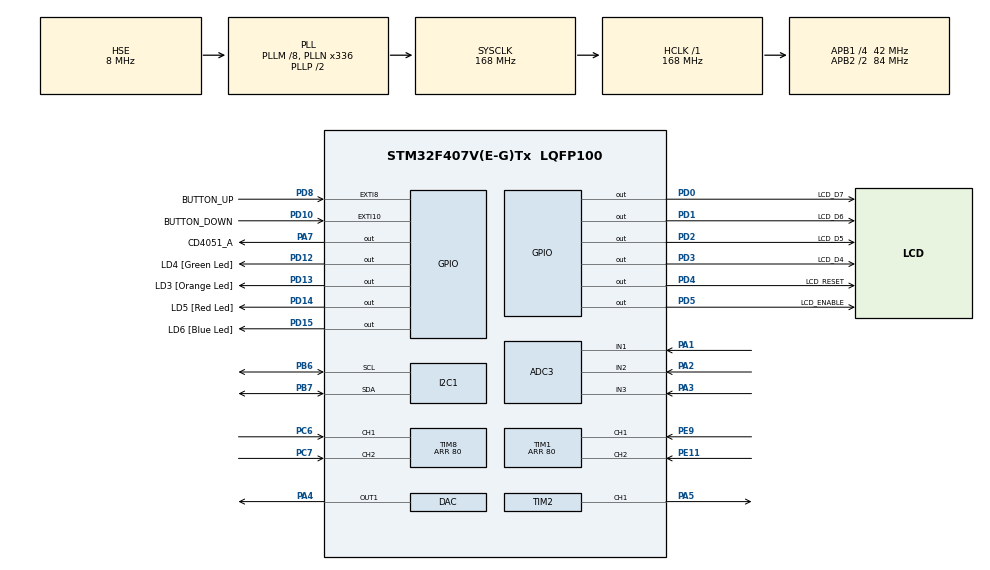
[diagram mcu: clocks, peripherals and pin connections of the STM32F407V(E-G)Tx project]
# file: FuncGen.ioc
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ADC3.Channel-0\#ChannelRegularConversion=ADC_CHANNEL_1
ADC3.Channel-1\#ChannelRegularConversion=ADC_CHANNEL_1
ADC3.Channel-2\#ChannelRegularConversion=ADC_CHANNEL_1
ADC3.ContinuousConvMode=ENABLE
ADC3.DMAContinuousRequests=ENABLE
ADC3.EOCSelection=ADC_EOC_SEQ_CONV
ADC3.NbrOfConversion=3
ADC3.NbrOfConversionFlag=1
ADC3.Rank-0\#ChannelRegularConversion=1
ADC3.Rank-1\#ChannelRegularConversion=2
ADC3.Rank-2\#ChannelRegularConversion=3
ADC3.SamplingTime-0\#ChannelRegularConversion=ADC_SAMPLETIME_3CYCLES
ADC3.SamplingTime-1\#ChannelRegularConversion=ADC_SAMPLETIME_3CYCLES
ADC3.SamplingTime-2\#ChannelRegularConversion=ADC_SAMPLETIME_3CYCLES
DAC.DAC_Trigger=DAC_TRIGGER_T6_TRGO
Dma.ADC3.1.Direction=DMA_PERIPH_TO_MEMORY
Dma.ADC3.1.FIFOMode=DMA_FIFOMODE_DISABLE
Dma.ADC3.1.Instance=DMA2_Stream0
Dma.ADC3.1.MemDataAlignment=DMA_MDATAALIGN_HALFWORD
Dma.ADC3.1.MemInc=DMA_MINC_ENABLE
Dma.ADC3.1.Mode=DMA_CIRCULAR
Dma.ADC3.1.PeriphDataAlignment=DMA_PDATAALIGN_HALFWORD
Dma.ADC3.1.PeriphInc=DMA_PINC_DISABLE
Dma.ADC3.1.Priority=DMA_PRIORITY_VERY_HIGH
Dma.DAC1.0.Direction=DMA_MEMORY_TO_PERIPH
Dma.DAC1.0.FIFOMode=DMA_FIFOMODE_ENABLE
Dma.DAC1.0.FIFOThreshold=DMA_FIFO_THRESHOLD_FULL
Dma.DAC1.0.Instance=DMA1_Stream5
Dma.DAC1.0.MemBurst=DMA_MBURST_SINGLE
Dma.DAC1.0.MemDataAlignment=DMA_MDATAALIGN_HALFWORD
Dma.DAC1.0.MemInc=DMA_MINC_ENABLE
Dma.DAC1.0.Mode=DMA_CIRCULAR
Dma.DAC1.0.PeriphBurst=DMA_PBURST_SINGLE
Dma.DAC1.0.PeriphDataAlignment=DMA_PDATAALIGN_HALFWORD
Dma.DAC1.0.PeriphInc=DMA_PINC_DISABLE
Dma.DAC1.0.Priority=DMA_PRIORITY_LOW
Dma.Request0=DAC1
Dma.Request1=ADC3
I2C1.I2C_Mode=I2C_Fast
I2C1.NoStretchMode=I2C_NOSTRETCH_ENABLE
I2C1.OwnAddress=0x14
Mcu.Family=STM32F4
Mcu.Name=STM32F407V(E-G)Tx
Mcu.Package=LQFP100
NVIC.DMA1_Stream5_IRQn=true\:0\:0\:false\:false\:true\:false\:true
NVIC.DMA2_Stream0_IRQn=true\:0\:0\:false\:false\:true\:false\:true
NVIC.EXTI15_10_IRQn=true\:0\:0\:false\:false\:true\:true\:true
NVIC.EXTI9_5_IRQn=true\:0\:0\:false\:false\:true\:true\:true
NVIC.I2C1_ER_IRQn=true\:0\:0\:false\:false\:true\:true\:true
NVIC.I2C1_EV_IRQn=true\:0\:0\:false\:false\:true\:true\:true
NVIC.PriorityGroup=NVIC_PRIORITYGROUP_0
NVIC.TIM3_IRQn=true\:0\:0\:false\:false\:true\:true\:true
PA1.Signal=ADCx_IN1
PA2.Signal=ADCx_IN2
PA3.Signal=ADCx_IN3
PA4.Signal=COMP_DAC1_group
PA5.Signal=S_TIM2_CH1_ETR
PA7.GPIO_Label=CD4051_A
PA7.Signal=GPIO_Output
PB6.Mode=I2C
PB6.Signal=I2C1_SCL
PB7.Mode=I2C
PB7.Signal=I2C1_SDA
PC6.Signal=S_TIM8_CH1
PC7.Signal=S_TIM8_CH2
PD0.GPIO_Label=LCD_D7
PD0.Signal=GPIO_Output
PD1.GPIO_Label=LCD_D6
PD1.Signal=GPIO_Output
PD10.GPIO_Label=BUTTON_DOWN
PD10.GPIO_PuPd=GPIO_PULLUP
PD10.Signal=GPXTI10
PD12.GPIO_Label=LD4 [Green Led]
PD12.GPIO_PuPd=GPIO_NOPULL
PD12.GPIO_Speed=GPIO_SPEED_FREQ_LOW
PD12.Signal=GPIO_Output
PD13.GPIO_Label=LD3 [Orange Led]
PD13.GPIO_PuPd=GPIO_NOPULL
PD13.GPIO_Speed=GPIO_SPEED_FREQ_LOW
PD13.Signal=GPIO_Output
PD14.GPIO_Label=LD5 [Red Led]
PD14.GPIO_PuPd=GPIO_NOPULL
PD14.GPIO_Speed=GPIO_SPEED_FREQ_LOW
PD14.Signal=GPIO_Output
PD15.GPIO_Label=LD6 [Blue Led]
PD15.GPIO_PuPd=GPIO_NOPULL
PD15.GPIO_Speed=GPIO_SPEED_FREQ_LOW
PD15.Signal=GPIO_Output
PD2.GPIO_Label=LCD_D5
PD2.Signal=GPIO_Output
PD3.GPIO_Label=LCD_D4
PD3.Signal=GPIO_Output
PD4.GPIO_Label=LCD_RESET
PD4.Signal=GPIO_Output
PD5.GPIO_Label=LCD_ENABLE
PD5.Signal=GPIO_Output
PD8.GPIO_Label=BUTTON_UP
PD8.GPIO_PuPd=GPIO_PULLUP
PD8.Signal=GPXTI8
PE11.Signal=S_TIM1_CH2
PE9.Signal=S_TIM1_CH1
PH0-OSC_IN.Mode=HSE-External-Oscillator
PH0-OSC_IN.Signal=RCC_OSC_IN
PH1-OSC_OUT.Mode=HSE-External-Oscillator
PH1-OSC_OUT.Signal=RCC_OSC_OUT
ProjectManager.HeapSize=0x200
ProjectManager.StackSize=0x400
ProjectManager.TargetToolchain=STM32CubeIDE
RCC.48MHZClocksFreq_Value=48000000
RCC.AHBFreq_Value=168000000
RCC.APB1CLKDivider=RCC_HCLK_DIV4
RCC.APB1Freq_Value=42000000
RCC.APB1TimFreq_Value=84000000
RCC.APB2CLKDivider=RCC_HCLK_DIV2
RCC.APB2Freq_Value=84000000
RCC.APB2TimFreq_Value=168000000
RCC.CortexFreq_Value=168000000
RCC.EnbaleCSS=true
RCC.HCLKFreq_Value=168000000
RCC.HSE_VALUE=8000000
RCC.HSI_VALUE=16000000
RCC.PLLM=8
RCC.PLLN=336
RCC.PLLQ=7
RCC.PLLSourceVirtual=RCC_PLLSOURCE_HSE
RCC.SYSCLKFreq_VALUE=168000000
RCC.SYSCLKSource=RCC_SYSCLKSOURCE_PLLCLK
RCC.VCOOutputFreq_Value=336000000
SH.ADCx_IN1.0=ADC3_IN1,IN1
SH.ADCx_IN2.0=ADC3_IN2,IN2
SH.ADCx_IN3.0=ADC3_IN3,IN3
SH.COMP_DAC1_group.0=DAC_OUT1,DAC_OUT1
SH.S_TIM1_CH1.0=TIM1_CH1,Encoder_Interface
SH.S_TIM1_CH2.0=TIM1_CH2,Encoder_Interface
SH.S_TIM2_CH1_ETR.0=TIM2_CH1,PWM Generation1 CH1
SH.S_TIM8_CH1.0=TIM8_CH1,Encoder_Interface
SH.S_TIM8_CH2.0=TIM8_CH2,Encoder_Interface
TIM1.EncoderMode=TIM_ENCODERMODE_TI12
TIM1.IC1Filter=0xF
TIM1.IC2Filter=0xF
TIM1.Period=80
TIM2.Channel-PWM\ Generation1\ CH1=TIM_CHANNEL_1
TIM2.Period=4200
TIM3.AutoReloadPreload=TIM_AUTORELOAD_PRELOAD_ENABLE
TIM3.Period=100
TIM3.Prescaler=83
TIM6.TIM_MasterOutputTrigger=TIM_TRGO_UPDATE
TIM8.EncoderMode=TIM_ENCODERMODE_TI12
TIM8.IC1Filter=0xF
TIM8.IC2Filter=0xF
TIM8.Period=80
VP_TIM2_VS_ClockSourceINT.Mode=Internal
VP_TIM3_VS_ClockSourceINT.Mode=Internal
VP_TIM6_VS_ClockSourceINT.Mode=Enable_Timer
board=STM32F407G-DISC1

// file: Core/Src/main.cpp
/* USER CODE BEGIN Header */
/**
  ******************************************************************************
  * @file           : main.c
  * @brief          : Main program body
  ******************************************************************************
  * @attention
  *
  * <h2><center>&copy; Copyright (c) 2021 STMicroelectronics.
  * All rights reserved.</center></h2>
  *
  * This software component is licensed by ST under BSD 3-Clause license,
  * the "License"; You may not use this file except in compliance with the
  * License. You may obtain a copy of the License at:
  *                        opensource.org/licenses/BSD-3-Clause
  *
  ******************************************************************************
  */
/* USER CODE END Header */
#include "main.h"

/* USER CODE BEGIN Includes */
#include "lcd.h"
#include "menu.h"
#include "common_waves.h"
#include "push_buttons.h"
#include "arb.h"
/* USER CODE END Includes */

/* USER CODE BEGIN PTD */
#define INITIAL_FREQUENCY	10000
#define INITIAL_AMPLITUDE	3900
#define INITIAL_OFFSET		0
#define INITIAL_DUTY_CYCLE	50
#define WELCOMESCREEN_TIME	20
#define ON 					1
#define OFF					0
#define IDLE				0
#define CHECK				1
#define PUSH				2
#define NPUSH				3
#define DEBOUNCINGTIME		100

/* USER CODE END PTD */

ADC_HandleTypeDef hadc3;
DMA_HandleTypeDef hdma_adc3;

DAC_HandleTypeDef hdac;
DMA_HandleTypeDef hdma_dac1;

I2C_HandleTypeDef hi2c1;

TIM_HandleTypeDef htim1;
TIM_HandleTypeDef htim2;
TIM_HandleTypeDef htim3;
TIM_HandleTypeDef htim6;
TIM_HandleTypeDef htim8;

/* USER CODE BEGIN PV */
GPIO_PinState pin_state;

volatile uint16_t button_callback;
int8_t flag_callback_menu = 0;
int counter = 0, pressed_button = 0;

int *lcd_cnt = 0, *ldc_init_flag = 0, *lcd_wr_flag = 0, *lcd_wr_instr4bits_flag = 0, *lcd_posic_flag = 0;
char *aux_aux = 0, *aux_address = 0;
unsigned char *aux_dato = 0;

struct wave_param param = { INITIAL_FREQUENCY, INITIAL_AMPLITUDE, INITIAL_OFFSET, INITIAL_DUTY_CYCLE };

/* USER CODE END PV */

void SystemClock_Config(void);
static void MX_GPIO_Init(void);
static void MX_DMA_Init(void);
static void MX_I2C1_Init(void);
static void MX_DAC_Init(void);
static void MX_TIM1_Init(void);
static void MX_TIM2_Init(void);
static void MX_TIM3_Init(void);
static void MX_TIM6_Init(void);
static void MX_TIM8_Init(void);
static void MX_ADC3_Init(void);
/* USER CODE BEGIN PFP */
void welcome(void);
void button_check(void);
/* USER CODE END PFP */

int main(void)
{

  /* MCU Configuration--------------------------------------------------------*/

  /* Reset of all peripherals, Initializes the Flash interface and the Systick. */
  HAL_Init();

  /* Configure the system clock */
  SystemClock_Config();

  /* USER CODE BEGIN SysInit */
    int welcome_flag = 1;
    uint16_t *dac_samples_buffer = NULL;
  /* USER CODE END SysInit */

  /* Initialize all configured peripherals */
  MX_GPIO_Init();
  MX_DMA_Init();
  MX_I2C1_Init();
  MX_DAC_Init();
  MX_TIM1_Init();
  MX_TIM2_Init();
  MX_TIM3_Init();
  MX_TIM6_Init();
  MX_TIM8_Init();
  MX_ADC3_Init();
  /* USER CODE BEGIN 2 */
    //HAL_ADC_Start(&hadc3);
    HAL_TIM_Base_Start(&htim6); //Base de tiempo para la salida DAC
    HAL_TIM_Base_Start_IT(&htim3); //Base de tiempo para interrupciones de 100us
    HAL_TIM_PWM_Start(&htim2, TIM_CHANNEL_1); //Base de tiempo para la salida PWM
    HAL_TIM_Encoder_Start(&htim1, TIM_CHANNEL_ALL); //Inicializa el timer en modo encoder
    HAL_TIM_Encoder_Start(&htim8, TIM_CHANNEL_ALL); //Inicializa el timer en modo encoder
    welcome(); //mensaje de presentacion
  /* USER CODE END 2 */

  /* Infinite loop */
  /* USER CODE BEGIN WHILE */
    while (1)
    {

        /* Limpio el display luego de mostrar el mensaje de bienvenida por única vez*/
        if(counter>=WELCOMESCREEN_TIME)
        {
            if(welcome_flag==1)
            {
                cls_lcd();
            	welcome_flag = 0;
            }
        }
        /* Compruebo si un botón fue presionado*/
        button_check();

        /*Ejecuto el menú*/
        if(welcome_flag == 0)
        {
            dac_samples_buffer = menu(dac_samples_buffer);
        }
    }
    /* USER CODE END WHILE */

}

void SystemClock_Config(void)
{
  RCC_OscInitTypeDef RCC_OscInitStruct = {0};
  RCC_ClkInitTypeDef RCC_ClkInitStruct = {0};

  /** Configure the main internal regulator output voltage
  */
  __HAL_RCC_PWR_CLK_ENABLE();
  __HAL_PWR_VOLTAGESCALING_CONFIG(PWR_REGULATOR_VOLTAGE_SCALE1);
  /** Initializes the RCC Oscillators according to the specified parameters
  * in the RCC_OscInitTypeDef structure.
  */
  RCC_OscInitStruct.OscillatorType = RCC_OSCILLATORTYPE_HSE;
  RCC_OscInitStruct.HSEState = RCC_HSE_ON;
  RCC_OscInitStruct.PLL.PLLState = RCC_PLL_ON;
  RCC_OscInitStruct.PLL.PLLSource = RCC_PLLSOURCE_HSE;
  RCC_OscInitStruct.PLL.PLLM = 8;
  RCC_OscInitStruct.PLL.PLLN = 336;
  RCC_OscInitStruct.PLL.PLLP = RCC_PLLP_DIV2;
  RCC_OscInitStruct.PLL.PLLQ = 7;
  if (HAL_RCC_OscConfig(&RCC_OscInitStruct) != HAL_OK)
  {
    Error_Handler();
  }
  /** Initializes the CPU, AHB and APB buses clocks
  */
  RCC_ClkInitStruct.ClockType = RCC_CLOCKTYPE_HCLK|RCC_CLOCKTYPE_SYSCLK|RCC_CLOCKTYPE_PCLK1|RCC_CLOCKTYPE_PCLK2;
  RCC_ClkInitStruct.SYSCLKSource = RCC_SYSCLKSOURCE_PLLCLK;
  RCC_ClkInitStruct.AHBCLKDivider = RCC_SYSCLK_DIV1;
  RCC_ClkInitStruct.APB1CLKDivider = RCC_HCLK_DIV4;
  RCC_ClkInitStruct.APB2CLKDivider = RCC_HCLK_DIV2;

  if (HAL_RCC_ClockConfig(&RCC_ClkInitStruct, FLASH_LATENCY_5) != HAL_OK)
  {
    Error_Handler();
  }
  /** Enables the Clock Security System
  */
  HAL_RCC_EnableCSS();
}

static void MX_ADC3_Init(void)
{
    ADC_ChannelConfTypeDef sConfig = {0};
    /** Configure the global features of the ADC (Clock, Resolution, Data Alignment and number of conversion)
    */
    hadc3.Instance = ADC3;
    hadc3.Init.ClockPrescaler = ADC_CLOCK_SYNC_PCLK_DIV4;
    hadc3.Init.Resolution = ADC_RESOLUTION_12B;
    hadc3.Init.ScanConvMode = ENABLE;
    hadc3.Init.ContinuousConvMode = ENABLE;
    hadc3.Init.DiscontinuousConvMode = DISABLE;
    hadc3.Init.ExternalTrigConvEdge = ADC_EXTERNALTRIGCONVEDGE_NONE;
    hadc3.Init.ExternalTrigConv = ADC_SOFTWARE_START;
    hadc3.Init.DataAlign = ADC_DATAALIGN_RIGHT;
    hadc3.Init.NbrOfConversion = 3;
    hadc3.Init.DMAContinuousRequests = ENABLE;
    hadc3.Init.EOCSelection = ADC_EOC_SEQ_CONV;
    if (HAL_ADC_Init(&hadc3) != HAL_OK)
    {
        Error_Handler();
    }
    /** Configure for the selected ADC regular channel its corresponding rank in the sequencer and its sample time.
    */
    sConfig.Channel = ADC_CHANNEL_1;
    sConfig.Rank = 1;
    sConfig.SamplingTime = ADC_SAMPLETIME_480CYCLES;
    if (HAL_ADC_ConfigChannel(&hadc3, &sConfig) != HAL_OK)
    {
        Error_Handler();
    }
    /** Configure for the selected ADC regular channel its corresponding rank in the sequencer and its sample time.
    */
    sConfig.Channel = ADC_CHANNEL_2;
    sConfig.Rank = 2;
    if (HAL_ADC_ConfigChannel(&hadc3, &sConfig) != HAL_OK)
    {
        Error_Handler();
    }
    /** Configure for the selected ADC regular channel its corresponding rank in the sequencer and its sample time.
    */
    sConfig.Channel = ADC_CHANNEL_3;
    sConfig.Rank = 3;
    if (HAL_ADC_ConfigChannel(&hadc3, &sConfig) != HAL_OK)
    {
        Error_Handler();
    }
}

static void MX_DAC_Init(void)
{

  DAC_ChannelConfTypeDef sConfig = {0};

  /** DAC Initialization
  */
  hdac.Instance = DAC;
  if (HAL_DAC_Init(&hdac) != HAL_OK)
  {
    Error_Handler();
  }
  /** DAC channel OUT1 config
  */
  sConfig.DAC_Trigger = DAC_TRIGGER_T6_TRGO;
  sConfig.DAC_OutputBuffer = DAC_OUTPUTBUFFER_ENABLE;
  if (HAL_DAC_ConfigChannel(&hdac, &sConfig, DAC_CHANNEL_1) != HAL_OK)
  {
    Error_Handler();
  }

}

static void MX_I2C1_Init(void)
{

  hi2c1.Instance = I2C1;
  hi2c1.Init.ClockSpeed = 400000;
  hi2c1.Init.DutyCycle = I2C_DUTYCYCLE_2;
  hi2c1.Init.OwnAddress1 = 40;
  hi2c1.Init.AddressingMode = I2C_ADDRESSINGMODE_7BIT;
  hi2c1.Init.DualAddressMode = I2C_DUALADDRESS_DISABLE;
  hi2c1.Init.OwnAddress2 = 0;
  hi2c1.Init.GeneralCallMode = I2C_GENERALCALL_DISABLE;
  hi2c1.Init.NoStretchMode = I2C_NOSTRETCH_ENABLE;
  if (HAL_I2C_Init(&hi2c1) != HAL_OK)
  {
    Error_Handler();
  }

}

static void MX_TIM1_Init(void)
{

  TIM_Encoder_InitTypeDef sConfig = {0};
  TIM_MasterConfigTypeDef sMasterConfig = {0};

  htim1.Instance = TIM1;
  htim1.Init.Prescaler = 0;
  htim1.Init.CounterMode = TIM_COUNTERMODE_DOWN;
  htim1.Init.Period = 80;
  htim1.Init.ClockDivision = TIM_CLOCKDIVISION_DIV1;
  htim1.Init.RepetitionCounter = 0;
  htim1.Init.AutoReloadPreload = TIM_AUTORELOAD_PRELOAD_DISABLE;
  sConfig.EncoderMode = TIM_ENCODERMODE_TI12;
  sConfig.IC1Polarity = TIM_ICPOLARITY_RISING;
  sConfig.IC1Selection = TIM_ICSELECTION_DIRECTTI;
  sConfig.IC1Prescaler = TIM_ICPSC_DIV1;
  sConfig.IC1Filter = 0xF;
  sConfig.IC2Polarity = TIM_ICPOLARITY_FALLING;
  sConfig.IC2Selection = TIM_ICSELECTION_DIRECTTI;
  sConfig.IC2Prescaler = TIM_ICPSC_DIV1;
  sConfig.IC2Filter = 0xF;
  if (HAL_TIM_Encoder_Init(&htim1, &sConfig) != HAL_OK)
  {
    Error_Handler();
  }
  sMasterConfig.MasterOutputTrigger = TIM_TRGO_RESET;
  sMasterConfig.MasterSlaveMode = TIM_MASTERSLAVEMODE_DISABLE;
  if (HAL_TIMEx_MasterConfigSynchronization(&htim1, &sMasterConfig) != HAL_OK)
  {
    Error_Handler();
  }

}

static void MX_TIM2_Init(void)
{

  TIM_ClockConfigTypeDef sClockSourceConfig = {0};
  TIM_MasterConfigTypeDef sMasterConfig = {0};
  TIM_OC_InitTypeDef sConfigOC = {0};

  htim2.Instance = TIM2;
  htim2.Init.Prescaler = 0;
  htim2.Init.CounterMode = TIM_COUNTERMODE_UP;
  htim2.Init.Period = 4200;
  htim2.Init.ClockDivision = TIM_CLOCKDIVISION_DIV1;
  htim2.Init.AutoReloadPreload = TIM_AUTORELOAD_PRELOAD_DISABLE;
  if (HAL_TIM_Base_Init(&htim2) != HAL_OK)
  {
    Error_Handler();
  }
  sClockSourceConfig.ClockSource = TIM_CLOCKSOURCE_INTERNAL;
  if (HAL_TIM_ConfigClockSource(&htim2, &sClockSourceConfig) != HAL_OK)
  {
    Error_Handler();
  }
  if (HAL_TIM_PWM_Init(&htim2) != HAL_OK)
  {
    Error_Handler();
  }
  sMasterConfig.MasterOutputTrigger = TIM_TRGO_RESET;
  sMasterConfig.MasterSlaveMode = TIM_MASTERSLAVEMODE_DISABLE;
  if (HAL_TIMEx_MasterConfigSynchronization(&htim2, &sMasterConfig) != HAL_OK)
  {
    Error_Handler();
  }
  sConfigOC.OCMode = TIM_OCMODE_PWM1;
  sConfigOC.Pulse = 0;
  sConfigOC.OCPolarity = TIM_OCPOLARITY_HIGH;
  sConfigOC.OCFastMode = TIM_OCFAST_DISABLE;
  if (HAL_TIM_PWM_ConfigChannel(&htim2, &sConfigOC, TIM_CHANNEL_1) != HAL_OK)
  {
    Error_Handler();
  }
  HAL_TIM_MspPostInit(&htim2);

}

static void MX_TIM3_Init(void)
{

  TIM_ClockConfigTypeDef sClockSourceConfig = {0};
  TIM_MasterConfigTypeDef sMasterConfig = {0};

  htim3.Instance = TIM3;
  htim3.Init.Prescaler = 83;
  htim3.Init.CounterMode = TIM_COUNTERMODE_UP;
  htim3.Init.Period = 100;
  htim3.Init.ClockDivision = TIM_CLOCKDIVISION_DIV1;
  htim3.Init.AutoReloadPreload = TIM_AUTORELOAD_PRELOAD_ENABLE;
  if (HAL_TIM_Base_Init(&htim3) != HAL_OK)
  {
    Error_Handler();
  }
  sClockSourceConfig.ClockSource = TIM_CLOCKSOURCE_INTERNAL;
  if (HAL_TIM_ConfigClockSource(&htim3, &sClockSourceConfig) != HAL_OK)
  {
    Error_Handler();
  }
  sMasterConfig.MasterOutputTrigger = TIM_TRGO_RESET;
  sMasterConfig.MasterSlaveMode = TIM_MASTERSLAVEMODE_DISABLE;
  if (HAL_TIMEx_MasterConfigSynchronization(&htim3, &sMasterConfig) != HAL_OK)
  {
    Error_Handler();
  }

}

static void MX_TIM6_Init(void)
{

  TIM_MasterConfigTypeDef sMasterConfig = {0};

  htim6.Instance = TIM6;
  htim6.Init.Prescaler = 0;
  htim6.Init.CounterMode = TIM_COUNTERMODE_UP;
  htim6.Init.Period = 65535;
  htim6.Init.AutoReloadPreload = TIM_AUTORELOAD_PRELOAD_DISABLE;
  if (HAL_TIM_Base_Init(&htim6) != HAL_OK)
  {
    Error_Handler();
  }
  sMasterConfig.MasterOutputTrigger = TIM_TRGO_UPDATE;
  sMasterConfig.MasterSlaveMode = TIM_MASTERSLAVEMODE_DISABLE;
  if (HAL_TIMEx_MasterConfigSynchronization(&htim6, &sMasterConfig) != HAL_OK)
  {
    Error_Handler();
  }

}

static void MX_TIM8_Init(void)
{

  TIM_Encoder_InitTypeDef sConfig = {0};
  TIM_MasterConfigTypeDef sMasterConfig = {0};

  htim8.Instance = TIM8;
  htim8.Init.Prescaler = 0;
  htim8.Init.CounterMode = TIM_COUNTERMODE_DOWN;
  htim8.Init.Period = 80;
  htim8.Init.ClockDivision = TIM_CLOCKDIVISION_DIV1;
  htim8.Init.RepetitionCounter = 0;
  htim8.Init.AutoReloadPreload = TIM_AUTORELOAD_PRELOAD_DISABLE;
  sConfig.EncoderMode = TIM_ENCODERMODE_TI12;
  sConfig.IC1Polarity = TIM_ICPOLARITY_RISING;
  sConfig.IC1Selection = TIM_ICSELECTION_DIRECTTI;
  sConfig.IC1Prescaler = TIM_ICPSC_DIV1;
  sConfig.IC1Filter = 0xF;
  sConfig.IC2Polarity = TIM_ICPOLARITY_RISING;
  sConfig.IC2Selection = TIM_ICSELECTION_DIRECTTI;
  sConfig.IC2Prescaler = TIM_ICPSC_DIV1;
  sConfig.IC2Filter = 0xF;
  if (HAL_TIM_Encoder_Init(&htim8, &sConfig) != HAL_OK)
  {
    Error_Handler();
  }
  sMasterConfig.MasterOutputTrigger = TIM_TRGO_RESET;
  sMasterConfig.MasterSlaveMode = TIM_MASTERSLAVEMODE_DISABLE;
  if (HAL_TIMEx_MasterConfigSynchronization(&htim8, &sMasterConfig) != HAL_OK)
  {
    Error_Handler();
  }

}

static void MX_DMA_Init(void)
{

  /* DMA controller clock enable */
  __HAL_RCC_DMA1_CLK_ENABLE();
  __HAL_RCC_DMA2_CLK_ENABLE();

  /* DMA interrupt init */
  /* DMA1_Stream5_IRQn interrupt configuration */
  HAL_NVIC_SetPriority(DMA1_Stream5_IRQn, 0, 0);
  HAL_NVIC_EnableIRQ(DMA1_Stream5_IRQn);
  /* DMA2_Stream0_IRQn interrupt configuration */
  HAL_NVIC_SetPriority(DMA2_Stream0_IRQn, 0, 0);
  HAL_NVIC_EnableIRQ(DMA2_Stream0_IRQn);

}

static void MX_GPIO_Init(void)
{
  GPIO_InitTypeDef GPIO_InitStruct = {0};

  /* GPIO Ports Clock Enable */
  __HAL_RCC_GPIOH_CLK_ENABLE();
  __HAL_RCC_GPIOA_CLK_ENABLE();
  __HAL_RCC_GPIOE_CLK_ENABLE();
  __HAL_RCC_GPIOD_CLK_ENABLE();
  __HAL_RCC_GPIOC_CLK_ENABLE();
  __HAL_RCC_GPIOB_CLK_ENABLE();

  /*Configure GPIO pin Output Level */
  HAL_GPIO_WritePin(CD4051_A_GPIO_Port, CD4051_A_Pin, GPIO_PIN_RESET);

  /*Configure GPIO pin Output Level */
  HAL_GPIO_WritePin(GPIOD, LD4_Pin|LD3_Pin|LD5_Pin|LD6_Pin
                          |LCD_D7_Pin|LCD_D6_Pin|LCD_D5_Pin|LCD_D4_Pin
                          |LCD_RESET_Pin|LCD_ENABLE_Pin, GPIO_PIN_RESET);

  /*Configure GPIO pin : CD4051_A_Pin */
  GPIO_InitStruct.Pin = CD4051_A_Pin;
  GPIO_InitStruct.Mode = GPIO_MODE_OUTPUT_PP;
  GPIO_InitStruct.Pull = GPIO_NOPULL;
  GPIO_InitStruct.Speed = GPIO_SPEED_FREQ_LOW;
  HAL_GPIO_Init(CD4051_A_GPIO_Port, &GPIO_InitStruct);

  /*Configure GPIO pins : BUTTON_UP_Pin BUTTON_DOWN_Pin */
  GPIO_InitStruct.Pin = BUTTON_UP_Pin|BUTTON_DOWN_Pin;
  GPIO_InitStruct.Mode = GPIO_MODE_IT_RISING;
  GPIO_InitStruct.Pull = GPIO_PULLUP;
  HAL_GPIO_Init(GPIOD, &GPIO_InitStruct);

  /*Configure GPIO pins : LD4_Pin LD3_Pin LD5_Pin LD6_Pin
                           LCD_D7_Pin LCD_D6_Pin LCD_D5_Pin LCD_D4_Pin
                           LCD_RESET_Pin LCD_ENABLE_Pin */
  GPIO_InitStruct.Pin = LD4_Pin|LD3_Pin|LD5_Pin|LD6_Pin
                          |LCD_D7_Pin|LCD_D6_Pin|LCD_D5_Pin|LCD_D4_Pin
                          |LCD_RESET_Pin|LCD_ENABLE_Pin;
  GPIO_InitStruct.Mode = GPIO_MODE_OUTPUT_PP;
  GPIO_InitStruct.Pull = GPIO_NOPULL;
  GPIO_InitStruct.Speed = GPIO_SPEED_FREQ_LOW;
  HAL_GPIO_Init(GPIOD, &GPIO_InitStruct);

  /* EXTI interrupt init*/
  HAL_NVIC_SetPriority(EXTI9_5_IRQn, 0, 0);
  HAL_NVIC_EnableIRQ(EXTI9_5_IRQn);

  HAL_NVIC_SetPriority(EXTI15_10_IRQn, 0, 0);
  HAL_NVIC_EnableIRQ(EXTI15_10_IRQn);

}

/* USER CODE BEGIN 4 */
void HAL_SYSTICK_Callback(void)
{
    counter++;
}

void welcome(void)
{
    init_lcd();
    cls_lcd();
    print_shifted((char*)"DIGITALES III", 1, 3);
    print_shifted((char*)"Generador", 2, 5);
    print_shifted((char*)"de", 3, 8);
    print_shifted((char*)"Funciones", 4, 5);
}

void button_check(void)
{
    static uint8_t state = IDLE;
    switch(state)
    {
    case IDLE:
        if(flag_callback_menu==ON)
        {
            state = CHECK;
            counter = 0;
            flag_callback_menu = 0;
        }
        break;
    case CHECK:
        if(counter >= DEBOUNCINGTIME)
        {
            if(pin_state == HAL_GPIO_ReadPin(GPIOD, button_callback))
            {
                if(pin_state == GPIO_PIN_SET)
                    state=PUSH;
                else
                    state=NPUSH;
            }
            else
                state = IDLE;
        }
        break;
    case PUSH:
        pressed_button = 1;
        button_action(button_callback);
        state = IDLE;
        break;
    case NPUSH:
        pressed_button = 0;
        state = IDLE;
        break;
    }
}

void HAL_GPIO_EXTI_Callback(uint16_t GPIO_Pin)
{
    button_callback = GPIO_Pin;
    pin_state = HAL_GPIO_ReadPin(GPIOD, button_callback);
    flag_callback_menu = 1;
}
/* USER CODE END 4 */

void Error_Handler(void)
{
    __disable_irq();
    while (1)
    {
    }
}

/************************ (C) COPYRIGHT STMicroelectronics *****END OF FILE****/
